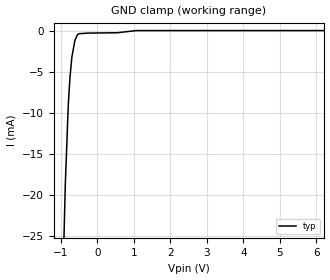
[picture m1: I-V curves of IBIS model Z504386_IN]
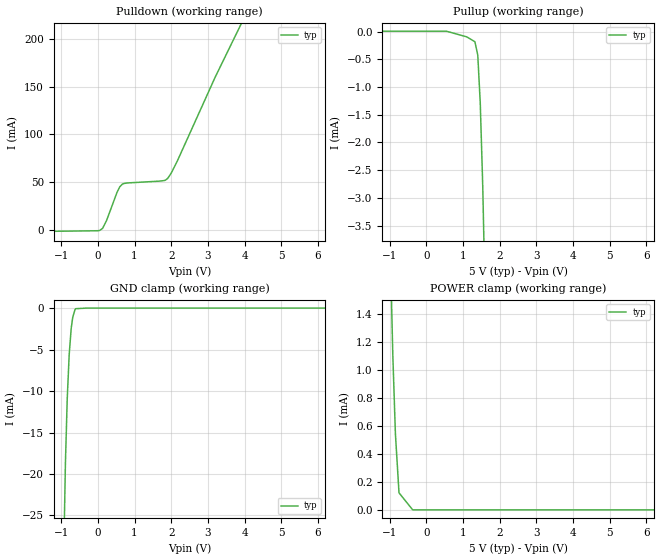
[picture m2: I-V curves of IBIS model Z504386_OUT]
| YOU ARE ONLY AUTHORIZED TO USE THIS SOFTWARE
| ACCORDING TO LICENSOR'S LICENSE RESTRICTIONS.
[IBIS Ver] 3.1
[File Name] sn54ls153j.ibs
[File Rev] 2.0
[Source] Measured and created by ICX Technology
[Date] Friday 7/14/00 9:08:13 AM
[Copyright]
| (C) COPYRIGHT 1993-2000
| MENTOR GRAPHICS CORPORATION
| ICX STANDARD LIBRARY, ICX PROJECT MODELING,
| ICX CUSTOM MODELING, ICX VENDOR MODEL
| ALL RIGHTS RESERVED.
| THE FOLLOWING ARE TRADEMARKS OR SERVICE MARKS OF
| MENTOR GRAPHICS CORPORATION:ICX (R), ICX STANDARD
| LIBRARY(R), ICX PROJECT MODELING(R), ICX CUSTOM
| MODELING(R), qualityIBIS(TM), MODELVIEWER(TM),
| AND MODELEDITOR(TM)
| ALL COPIES OF SOFTWARE, INCLUDING BUT NOT LIMITED TO
| ANY MODIFICATIONS, ENHANCEMENTS OR DERIVATIVE WORKS,
| MUST CONTAIN ALL MENTOR GRAPHICS CORPORATION'S
| NOTICES AND LEGENDS, INCLUDING THOSE EMBEDDED IN
| SOFTWARE AND THOSE AFFIXED TO SOFTWARE MEDIUM
| AND CONTAINER, AS RECEIVED FROM MENTOR GRAPHICS
| CORPORATION.
|  ZAP Model Builder 2.7
[Component] SN54LS153J
[Manufacturer] OnSemiconductor
[Package]
| variable   typ   min   max
R_pkg  .212ohms NA NA
L_pkg  4.758nH NA NA
C_pkg  1.944pF NA NA
[Pin] signal_name  model_name  R_pin  L_pin C_pin
1 _G1 Z504386_IN .224 7.258n 2.683p
2 B Z504386_IN .216 5.258n 2.19p
3 C3A Z504386_IN .208 3.758n 1.697p
4 C2A Z504386_IN .2 2.758n 1.204p
5 C1A Z504386_IN .2 2.758n 1.204p
6 C0A Z504386_IN .208 3.758n 1.697p
7 Y1 Z504386_OUT .216 5.258n 2.19p
8 GND GND .224 7.258n 2.683p
9 Y2 Z504386_OUT .224 7.258n 2.683p
10 C0B Z504386_IN .216 5.258n 2.19p
11 C1B Z504386_IN .208 3.758n 1.697p
12 C2B Z504386_IN .2 2.758n 1.204p
13 C3B Z504386_IN .2 2.758n 1.204p
14 A Z504386_IN .208 3.758n 1.697p
15 _G2 Z504386_IN .216 5.258n 2.19p
16 VCC POWER .224 7.258n 2.683p
| Models and submodels in the file (2): Z504386_IN (Input), Z504386_OUT (Output)
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| (C) COPYRIGHT 1993-2000
| MENTOR GRAPHICS CORPORATION
| ICX STANDARD LIBRARY, ICX PROJECT MODELING,
| ICX CUSTOM MODELING, ICX VENDOR MODEL
| ALL RIGHTS RESERVED.
| THE FOLLOWING ARE TRADEMARKS OR SERVICE MARKS OF
| MENTOR GRAPHICS CORPORATION:ICX (R), ICX STANDARD
| LIBRARY(R), ICX PROJECT MODELING(R), ICX CUSTOM
| MODELING(R), qualityIBIS(TM), MODELVIEWER(TM),
| AND MODELEDITOR(TM)
| ALL COPIES OF SOFTWARE, INCLUDING BUT NOT LIMITED TO
| ANY MODIFICATIONS, ENHANCEMENTS OR DERIVATIVE WORKS,
| MUST CONTAIN ALL MENTOR GRAPHICS CORPORATION'S
| NOTICES AND LEGENDS, INCLUDING THOSE EMBEDDED IN
| SOFTWARE AND THOSE AFFIXED TO SOFTWARE MEDIUM
| AND CONTAINER, AS RECEIVED FROM MENTOR GRAPHICS
| CORPORATION.
| Model Application Version 1.89 2/18/99.
[Model] Z504386_IN
Model_type Input
Vinl = 800.0mV
Vinh = 2.000V
C_comp 4.000pF NA NA
| variable typ   min   max
[Voltage Range] 5.000V NA NA
[GND Clamp Reference] 0.000V NA NA
[POWER Clamp Reference] 5.000V NA NA
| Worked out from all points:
|   GND clamp passes 1 mA (typ) near -0.60 V on its own axis
[GND Clamp]
-5V       -753mA     NA         NA
-877.4mV  -18.7mA    NA         NA
-795.7mV  -9.014mA   NA         NA
-750.4mV  -5.739mA   NA         NA
-697.7mV  -3.228mA   NA         NA
-615.2mV  -1.201mA   NA         NA
-545.1mV  -499.9uA   NA         NA
-502.9mV  -379.1uA   NA         NA
-251.5mV  -304.3uA   NA         NA
552.3mV   -261.3uA   NA         NA
1.065V    1.83uA     NA         NA
10V       1.83uA     NA         NA
[POWER Clamp]
-5V       0A         NA         NA
10V       0A         NA         NA
| (C) COPYRIGHT 1993-2000
| MENTOR GRAPHICS CORPORATION
| ICX STANDARD LIBRARY, ICX PROJECT MODELING,
| ICX CUSTOM MODELING, ICX VENDOR MODEL
| ALL RIGHTS RESERVED.
| THE FOLLOWING ARE TRADEMARKS OR SERVICE MARKS OF
| MENTOR GRAPHICS CORPORATION:ICX (R), ICX STANDARD
| LIBRARY(R), ICX PROJECT MODELING(R), ICX CUSTOM
| MODELING(R), qualityIBIS(TM), MODELVIEWER(TM),
| AND MODELEDITOR(TM)
| ALL COPIES OF SOFTWARE, INCLUDING BUT NOT LIMITED TO
| ANY MODIFICATIONS, ENHANCEMENTS OR DERIVATIVE WORKS,
| MUST CONTAIN ALL MENTOR GRAPHICS CORPORATION'S
| NOTICES AND LEGENDS, INCLUDING THOSE EMBEDDED IN
| SOFTWARE AND THOSE AFFIXED TO SOFTWARE MEDIUM
| AND CONTAINER, AS RECEIVED FROM MENTOR GRAPHICS
| CORPORATION.
| Model Application Version 1.89 2/18/99.
[Model] Z504386_OUT
Model_type Output
Vref=5.000V
Rref=2.000kohms
Cref=15.00pF
Vmeas=1.300V
C_comp 8.000pF NA NA
| variable typ   min   max
[Voltage Range] 5.000V NA NA
[POWER Clamp Reference] 5.000V NA NA
[Pullup Reference] 5.000V NA NA
[Pulldown Reference] 0.000V NA NA
[GND Clamp Reference] 0.000V NA NA
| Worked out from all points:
|   slope of the pulldown table from 0 to 0.75 V, typ, clamps not added: 15.1 ohm
|   slope of the pullup table from 0 to 0.75 V, typ, clamps not added: 20.1 kohm
|   GND clamp passes 1 mA (typ) near -0.68 V on its own axis
|   POWER clamp passes 1 mA (typ) near -0.90 V on its own axis
[GND Clamp]
-5V       -1.682A    NA         NA
-1.157V   -98.62mA   NA         NA
-1.011V   -49.33mA   NA         NA
-883.8mV  -18.71mA   NA         NA
-834.5mV  -10.95mA   NA         NA
-781.1mV  -5.628mA   NA         NA
-726.1mV  -2.44mA    NA         NA
-683.6mV  -1.104mA   NA         NA
-625mV    -217.3uA   NA         NA
-606mV    -76.73uA   NA         NA
-303mV    0A         NA         NA
10V       0A         NA         NA
[Pulldown]
-5V       -3.487mA   NA         NA
48.83mV   -712.4uA   NA         NA
130.8mV   1.514mA    NA         NA
238.8mV   9.81mA     NA         NA
527.3mV   39.65mA    NA         NA
598.8mV   45.11mA    NA         NA
673.8mV   48.07mA    NA         NA
1.791V    51.55mA    NA         NA
1.904V    53.84mA    NA         NA
2.168V    72.19mA    NA         NA
3.203V    160.4mA    NA         NA
10V       696.3mA    NA         NA
[Pullup]
-5V       6.819uA    NA         NA
547mV     6.278uA    NA         NA
1.1V      -95.42uA   NA         NA
1.323V    -183.2uA   NA         NA
1.401V    -424.2uA   NA         NA
1.469V    -1.287mA   NA         NA
1.537V    -2.794mA   NA         NA
10V       -267.3mA   NA         NA
[POWER Clamp]
-5V       55.08mA    NA         NA
-1.045V   2.523mA    NA         NA
-916mV    1.112mA    NA         NA
-845mV    545.8uA    NA         NA
-747mV    122uA      NA         NA
-373.5mV  0A         NA         NA
10V       0A         NA         NA
[Ramp]
| variable typ min max
dV/dt_r 1.961/9.664n NA NA
dV/dt_f 1.961/2.304n NA NA
R_load = 500.0Ohms
